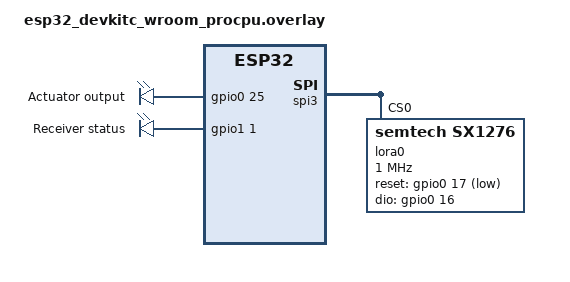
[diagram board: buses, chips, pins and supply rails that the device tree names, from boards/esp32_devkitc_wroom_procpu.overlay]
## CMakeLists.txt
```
# Copyright (c) 2026 Vinicius Pedrosa
# SPDX-License-Identifier: MIT OR Apache-2.0

cmake_minimum_required(VERSION 3.20.0)

set(GATE_LINK_ROOT ${CMAKE_CURRENT_LIST_DIR}/../..)

find_package(Zephyr REQUIRED HINTS $ENV{ZEPHYR_BASE})
project(gate_link_receiver)

add_subdirectory(${GATE_LINK_ROOT}/common common)

target_sources(app PRIVATE src/main.c)
```

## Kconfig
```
# Copyright (c) 2026 Vinicius Pedrosa
# SPDX-License-Identifier: MIT OR Apache-2.0

mainmenu "Gate Link receiver"

menu "Gate Link receiver"

module = GATE_RX
module-str = gate_rx
source "subsys/logging/Kconfig.template.log_config"

config GATE_RX_ACCEPTED_DEVICE_ID
	int "Accepted transmitter device id"
	default 1
	range 1 2147483647
	help
	  Device id of the transmitter this receiver answers. Commands carrying
	  any other device id are ignored without an ACK. Duplicate detection
	  tracks the last accepted sequence for this identity.

	  This is addressing, not authentication: a device id is trivial to
	  spoof and only phase 8 makes a command unforgeable.

config GATE_RX_RECEIVE_TIMEOUT_MS
	int "Bench receive timeout in milliseconds"
	default 10000
	range 1000 60000
	help
	  Timeout used while waiting for bench LoRa packets.

config GATE_RX_ACTUATOR_PULSE_MS
	int "Actuator output pulse in milliseconds"
	default 300
	range 1 10000
	help
	  Time the actuator output stays active for one accepted trigger command.

	  The pulse runs before the ACK is sent, so it is part of the time the
	  transmitter spends waiting. Keep it well below the transmitter's
	  CONFIG_GATE_TX_ACK_TIMEOUT_MS, or every command times out and reports
	  failure at the transmitter even though the actuator did fire.

endmenu

rsource "../../common/Kconfig"

source "Kconfig.zephyr"
```

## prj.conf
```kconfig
# Copyright (c) 2026 Vinicius Pedrosa
# SPDX-License-Identifier: MIT OR Apache-2.0

CONFIG_LOG=y
CONFIG_GATE_RX_LOG_LEVEL_INF=y
CONFIG_MAIN_STACK_SIZE=2048

# Actuator output and status LED come from devicetree aliases (D005).
CONFIG_GPIO=y

# RFM95W/SX1276 LoRa radio comes from the board overlay lora0 alias.
CONFIG_SPI=y
CONFIG_LORA=y
CONFIG_LORA_LOG_LEVEL_INF=y
CONFIG_GATE_RADIO_LOG_LEVEL_INF=y
```

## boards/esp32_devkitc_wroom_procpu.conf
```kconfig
# Copyright (c) 2026 Vinicius Pedrosa
# SPDX-License-Identifier: MIT OR Apache-2.0

# ESP32 bench hardware has a storage partition used for the accepted sequence
# counter. The shared authentication key still comes from a local unversioned
# EXTRA_CONF_FILE.
CONFIG_FLASH=y
CONFIG_FLASH_MAP=y
CONFIG_FLASH_PAGE_LAYOUT=y
CONFIG_NVS=y
CONFIG_GATE_COUNTER_STORE_NVS=y
```

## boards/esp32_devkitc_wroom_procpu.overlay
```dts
/*
 * Copyright (c) 2026 Vinicius Pedrosa
 *
 * SPDX-License-Identifier: MIT OR Apache-2.0
 *
 * Receiver wiring for ESP32 DevKitC V4 (WROOM-32D) with a HopeRF RFM95W.
 *
 *   RFM95W          ESP32      note
 *   ------          -----      ----
 *   SCK             GPIO18     spi3 / VSPI, board default pinctrl
 *   MISO            GPIO19     spi3 / VSPI, board default pinctrl
 *   MOSI            GPIO23     spi3 / VSPI, board default pinctrl
 *   NSS  (CS)       GPIO5      spi3 hardware chip select, board default pinctrl
 *   RESET           GPIO17     active low on SX1276
 *   DIO0            GPIO16     TxDone / RxDone interrupt
 *   3V3, GND        3V3, GND   3.3 V only - 5 V destroys the module
 *
 *   actuator out    GPIO25     LED on the bench, isolated driver once installed
 *   status LED      GPIO33     series resistor to GND
 *
 * GPIO25 is deliberately not a strapping pin: it stays low through reset, so
 * the actuator cannot glitch active at boot once it drives a real contact.
 */

#include <zephyr/dt-bindings/gpio/gpio.h>

/ {
	aliases {
		gate-actuator = &gate_actuator;
		gate-status = &gate_status;
		lora0 = &lora0;
	};

	gate_outputs {
		compatible = "gpio-leds";

		/*
		 * The actuator is an LED on the bench and an isolated contact
		 * driver once installed (D003). Only this node changes.
		 */
		gate_actuator: gate_actuator {
			gpios = <&gpio0 25 GPIO_ACTIVE_HIGH>;
			label = "Actuator output";
		};

		gate_status: gate_status {
			/* ESP32 GPIO33 is controller gpio1 offset 1. */
			gpios = <&gpio1 1 GPIO_ACTIVE_HIGH>;
			label = "Receiver status";
		};
	};
};

&spi3 {
	status = "okay";
	/*
	 * No cs-gpios here on purpose. The board's spim3_default pinctrl already
	 * routes the SPI3 hardware chip select to GPIO5 (SPIM3_CSEL_GPIO5), and
	 * spi_esp32_spim.c only keeps NSS asserted across a multi-buffer
	 * transfer when no cs-gpios is declared:
	 *
	 *   hal_trans->cs_keep_active = (!ctx->num_cs_gpios && (...));
	 *
	 * Declaring cs-gpios made that false, so the controller raised NSS after
	 * every single byte. The SX1276 needs NSS low across the whole
	 * address+data pair, so it saw only orphan address bytes and answered
	 * 0x00 to everything, including REG_VERSION.
	 */

	lora0: lora@0 {
		compatible = "semtech,sx1276";
		reg = <0>;
		reset-gpios = <&gpio0 17 GPIO_ACTIVE_LOW>;
		/*
		 * Only DIO0 is required for TX/RX completion. Wire and list
		 * DIO1/DIO2 here as well if a later phase needs them.
		 */
		dio-gpios = <&gpio0 16 (GPIO_PULL_DOWN | GPIO_ACTIVE_HIGH)>;
		/* Conservative for breadboard wiring; raise once validated. */
		spi-max-frequency = <1000000>;
		/* The RFM95W only routes the PA_BOOST output. */
		power-amplifier-output = "pa-boost";
	};
};
```

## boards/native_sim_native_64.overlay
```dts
/*
 * Copyright (c) 2026 Vinicius Pedrosa
 *
 * SPDX-License-Identifier: MIT OR Apache-2.0
 *
 * Host build of the receiver. The actuator output is backed by the GPIO
 * emulator, so receiver logic can be exercised against the same devicetree
 * alias it uses on real hardware (D005).
 *
 * Pin 0 of gpio0 is already taken by the board's own led0 node.
 */

#include <zephyr/dt-bindings/gpio/gpio.h>

/ {
	aliases {
		gate-actuator = &gate_actuator;
		gate-status = &gate_status;
	};

	gate_outputs {
		compatible = "gpio-leds";

		/*
		 * The actuator is an LED on the bench and an isolated contact
		 * driver once installed (D003). Only this node changes.
		 */
		gate_actuator: gate_actuator {
			gpios = <&gpio0 1 GPIO_ACTIVE_HIGH>;
			label = "Actuator output";
		};

		gate_status: gate_status {
			gpios = <&gpio0 2 GPIO_ACTIVE_HIGH>;
			label = "Receiver status";
		};
	};
};
```

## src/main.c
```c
/*
 * Copyright (c) 2026 Vinicius Pedrosa
 *
 * SPDX-License-Identifier: MIT OR Apache-2.0
 */

#include <errno.h>
#include <stdbool.h>

#include <zephyr/devicetree.h>
#include <zephyr/drivers/gpio.h>
#include <zephyr/kernel.h>
#include <zephyr/logging/log.h>

#include <auth/gate_auth.h>
#include <protocol/gate_protocol.h>
#include <radio/gate_radio.h>
#include <sequence/gate_replay_filter.h>
#if IS_ENABLED(CONFIG_GATE_COUNTER_STORE_NVS)
#include <storage/gate_counter_store.h>
#endif

LOG_MODULE_REGISTER(gate_rx, CONFIG_GATE_RX_LOG_LEVEL);

/*
 * Board overlays bind these aliases to GPIO handles. Asserting them now keeps
 * a missing or misnamed overlay a build error instead of a bench surprise.
 */
BUILD_ASSERT(DT_NODE_EXISTS(DT_ALIAS(gate_actuator)),
	     "board overlay must define the gate-actuator alias");
BUILD_ASSERT(DT_NODE_EXISTS(DT_ALIAS(gate_status)),
	     "board overlay must define the gate-status alias");

/*
 * Authentication and replay resistance are configuration, and a missing
 * configuration is a build error for the same reason a missing alias is: no
 * retry produces a key or a storage partition that the build never bound
 * (D014). Catching it here keeps an unprovisioned image from being flashed and
 * then failing silently in the field.
 *
 * Only builds that can actually reach the radio are held to this. A build with
 * no lora0 alias idles on purpose and needs neither a key nor counters (D012).
 * Only the key length is checkable at build time; gate_auth_key_from_hex()
 * still validates the characters at startup.
 */
#if GATE_RADIO_PRESENT
BUILD_ASSERT(sizeof(CONFIG_GATE_AUTH_KEY_HEX) == GATE_AUTH_KEY_HEX_SIZE + 1u,
	     "CONFIG_GATE_AUTH_KEY_HEX must be exactly 64 hex characters; provision it through "
	     "a local unversioned EXTRA_CONF_FILE, never in the repository");
BUILD_ASSERT(IS_ENABLED(CONFIG_GATE_COUNTER_STORE_NVS),
	     "authenticated builds require CONFIG_GATE_COUNTER_STORE_NVS: without persisted "
	     "counters an accepted sequence would be forgotten on reset (D018)");
#endif

static const struct gpio_dt_spec actuator = GPIO_DT_SPEC_GET(DT_ALIAS(gate_actuator), gpios);
static const struct gpio_dt_spec status_led = GPIO_DT_SPEC_GET(DT_ALIAS(gate_status), gpios);

static uint8_t auth_key[GATE_AUTH_KEY_SIZE];

#if IS_ENABLED(CONFIG_GATE_COUNTER_STORE_NVS)
static struct gate_counter_store replay_store;
#endif

/* Pacing for actuator_force_safe(), which must never become a busy loop. */
#define ACTUATOR_SAFE_RETRY_MS 100

static void set_status_led(bool enabled)
{
	int ret = gpio_pin_set_dt(&status_led, enabled ? 1 : 0);

	if (ret < 0) {
		LOG_ERR("RX status LED set failed: %d", ret);
	}
}

static int rx_io_init(void)
{
	int ret;

	if (!gpio_is_ready_dt(&actuator)) {
		LOG_ERR("RX actuator GPIO is not ready");
		return -ENODEV;
	}

	if (!gpio_is_ready_dt(&status_led)) {
		LOG_ERR("RX status LED GPIO is not ready");
		return -ENODEV;
	}

	ret = gpio_pin_configure_dt(&actuator, GPIO_OUTPUT_INACTIVE);
	if (ret < 0) {
		LOG_ERR("RX actuator configure failed: %d", ret);
		return ret;
	}

	ret = gpio_pin_configure_dt(&status_led, GPIO_OUTPUT_INACTIVE);
	if (ret < 0) {
		LOG_ERR("RX status LED configure failed: %d", ret);
		return ret;
	}

	return 0;
}

/*
 * Drive the actuator back to its safe state, retrying until it gets there.
 *
 * Failing to energize the output only costs one missed command: no ACK is sent
 * and the transmitter retries. Failing to de-energize it is the worst failure
 * this firmware has, because the output stays active with nothing left to
 * lower it, and on the installed hardware that is a gate held open (D003).
 * There is nothing more useful a receiver can do in that state than keep
 * trying, so this mirrors radio_wait_ready(): retry forever, paced (D012).
 */
static void actuator_force_safe(void)
{
	for (;;) {
		int ret = gpio_pin_set_dt(&actuator, 0);

		if (ret == 0) {
			return;
		}

		LOG_ERR("RX actuator stuck active (%d), retrying in %u ms", ret,
			ACTUATOR_SAFE_RETRY_MS);
		k_sleep(K_MSEC(ACTUATOR_SAFE_RETRY_MS));
	}
}

static int actuator_trigger(void)
{
	int ret;

	ret = gpio_pin_set_dt(&actuator, 1);
	if (ret < 0) {
		LOG_ERR("RX actuator ON failed: %d", ret);
		return ret;
	}

	k_sleep(K_MSEC(CONFIG_GATE_RX_ACTUATOR_PULSE_MS));

	actuator_force_safe();

	return 0;
}

static int auth_init(void)
{
	enum gate_auth_status status;

	status = gate_auth_key_from_hex(CONFIG_GATE_AUTH_KEY_HEX, auth_key, sizeof(auth_key));
	if (status != GATE_AUTH_OK) {
		LOG_ERR("RX authentication key invalid: %s", gate_auth_status_name(status));
		LOG_ERR("RX requires CONFIG_GATE_AUTH_KEY_HEX with 64 hex characters");
		return -EINVAL;
	}

	LOG_INF("RX authentication enabled tag=%u bytes", GATE_PROTOCOL_AUTH_TAG_SIZE);

	return 0;
}

static int replay_store_init(struct gate_replay_tracker *tracker)
{
#if IS_ENABLED(CONFIG_GATE_COUNTER_STORE_NVS)
	uint32_t last_sequence;
	bool found;
	int ret;

	ret = gate_counter_store_init(&replay_store);
	if (ret < 0) {
		LOG_ERR("RX replay store init failed: %d", ret);
		if (ret == -EDEADLK) {
			LOG_ERR("RX replay store is not a valid NVS area; erase storage during "
				"provisioning");
		}
		return ret;
	}

	ret = gate_counter_store_read(&replay_store, GATE_COUNTER_STORE_RX_LAST_SEQUENCE_ID,
				      &last_sequence, &found);
	if (ret < 0) {
		LOG_ERR("RX replay store read failed: %d", ret);
		return ret;
	}

	if (!found || last_sequence == GATE_SEQUENCE_NONE) {
		LOG_INF("RX replay store is empty");
		return 0;
	}

	gate_replay_tracker_set_last_sequence(tracker, last_sequence);
	LOG_INF("RX replay store loaded last=%u device=%u", last_sequence, tracker->device_id);

	return 0;
#else
	ARG_UNUSED(tracker);
	LOG_ERR("RX replay-resistant sequence storage is not enabled");
	return -ENOTSUP;
#endif
}

static int persist_accepted_sequence(uint32_t sequence)
{
#if IS_ENABLED(CONFIG_GATE_COUNTER_STORE_NVS)
	return gate_counter_store_write(&replay_store, GATE_COUNTER_STORE_RX_LAST_SEQUENCE_ID,
					sequence);
#else
	ARG_UNUSED(sequence);
	return -ENOTSUP;
#endif
}

/*
 * Once the actuator pulse completed, the command has happened. The receiver
 * must not ACK that command until the accepted sequence is persistent; otherwise
 * a reboot could make the same signed packet executable again. Retrying here
 * blocks normal receive handling on purpose: no new command is safer than a
 * replayable accepted command.
 */
static void persist_accepted_sequence_or_wait(uint32_t sequence)
{
	for (;;) {
		int ret = persist_accepted_sequence(sequence);

		if (ret == 0) {
			return;
		}

		LOG_ERR("RX replay store write failed seq=%u ret=%d; ACK withheld", sequence, ret);
		set_status_led(false);
		k_sleep(K_MSEC(CONFIG_GATE_RADIO_RECOVERY_INTERVAL_MS));
	}
}

static int send_ack(const struct gate_packet *command)
{
	struct gate_packet ack;
	uint8_t buffer[GATE_PROTOCOL_PACKET_SIZE];
	size_t written;
	enum gate_protocol_status status;
	enum gate_auth_status auth_status;
	int send_ret;
	int rx_ret;

	gate_protocol_init_ack(&ack, command->device_id, command->sequence, command->command);

	auth_status = gate_auth_sign(&ack, auth_key, sizeof(auth_key));
	if (auth_status != GATE_AUTH_OK) {
		LOG_ERR("RX ACK auth sign failed seq=%u status=%s", command->sequence,
			gate_auth_status_name(auth_status));
		return -EINVAL;
	}

	status = gate_protocol_encode(&ack, buffer, sizeof(buffer), &written);
	if (status != GATE_PROTOCOL_OK) {
		LOG_ERR("RX ACK encode failed seq=%u status=%s", command->sequence,
			gate_protocol_status_name(status));
		return -EINVAL;
	}

	send_ret = gate_radio_configure_tx();
	if (send_ret < 0) {
		LOG_ERR("RX radio TX config failed: %d", send_ret);
		return send_ret;
	}

	LOG_INF("RX sending ACK seq=%u device=%u bytes=%u", ack.sequence, ack.device_id,
		(unsigned int)written);

	send_ret = gate_radio_send(buffer, written);
	if (send_ret < 0) {
		LOG_ERR("RX ACK send failed seq=%u ret=%d", ack.sequence, send_ret);
	} else {
		LOG_INF("RX ACK sent seq=%u", ack.sequence);
	}

	rx_ret = gate_radio_configure_rx();
	if (rx_ret < 0) {
		LOG_ERR("RX radio RX config failed after ACK: %d", rx_ret);
		return rx_ret;
	}

	return send_ret;
}

/*
 * Block until the radio answers and is listening again.
 *
 * There is nothing useful a receiver can do without a radio, so this retries
 * indefinitely instead of parking the board in a dead idle loop: a module that
 * was unpowered, unwired, or wedged heals without a power cycle. The receiver
 * must always end up back in RX mode, so probing alone is not enough.
 */
static void radio_wait_ready(void)
{
	for (;;) {
		if (gate_radio_init() == 0 && gate_radio_configure_rx() == 0) {
			return;
		}

		LOG_ERR("RX radio unavailable, retrying in %u ms",
			CONFIG_GATE_RADIO_RECOVERY_INTERVAL_MS);
		k_sleep(K_MSEC(CONFIG_GATE_RADIO_RECOVERY_INTERVAL_MS));
	}
}

/*
 * Count one radio error and recover once the threshold is reached. Only genuine
 * radio errors may reach this function; a receive timeout means the radio
 * listened and heard nothing, which is normal.
 */
static void note_radio_failure(uint32_t *failures)
{
	if (++(*failures) < (uint32_t)CONFIG_GATE_RADIO_RECOVERY_THRESHOLD) {
		return;
	}

	LOG_WRN("RX recovering radio after %u consecutive failures", *failures);
	*failures = 0u;

	radio_wait_ready();

	LOG_INF("RX radio recovered after runtime failure");
}

/*
 * Refresh the radio after each receive timeout.
 *
 * With the RFM95W powered off at runtime, lora_recv() can keep returning
 * -EAGAIN rather than a hard bus error. A timeout is still normal when the link
 * is idle, so the success path is intentionally quiet; the important behavior
 * is to notice a missing chip and to re-apply RX mode after power returns.
 */
static void refresh_radio_after_timeout(void)
{
	int ret = gate_radio_refresh_rx();

	if (ret == 0) {
		return;
	}

	LOG_WRN("RX radio refresh failed after timeout: %d", ret);
	radio_wait_ready();
	LOG_INF("RX radio recovered after idle timeout");
}

int main(void)
{
	struct gate_replay_tracker replay_trackers[1];
	uint32_t radio_failures = 0u;
	int ret;

	LOG_INF("RX boot");
	LOG_INF("RX protocol version=%u packet=%u bytes command=%s", gate_protocol_version(),
		GATE_PROTOCOL_PACKET_SIZE, gate_command_name(GATE_COMMAND_TRIGGER));
	gate_replay_tracker_init(&replay_trackers[0], CONFIG_GATE_RX_ACCEPTED_DEVICE_ID);

	/*
	 * Unlike a radio failure, this is not retried: an unbindable pin means
	 * the overlay does not match this board, and no retry creates it (D014).
	 */
	ret = rx_io_init();
	if (ret < 0) {
		LOG_ERR("RX I/O init failed: %d", ret);
		return 0;
	}

	if (!gate_radio_is_present()) {
		LOG_WRN("RX has no LoRa radio in this build, idling");
		k_sleep(K_FOREVER);
		return 0;
	}

	ret = auth_init();
	if (ret < 0) {
		return 0;
	}

	ret = replay_store_init(&replay_trackers[0]);
	if (ret < 0) {
		return 0;
	}

	radio_wait_ready();

	for (;;) {
		/* One byte above the packet size, so an oversized frame is
		 * reported instead of silently truncated (see gate_radio.h).
		 */
		uint8_t buffer[GATE_PROTOCOL_PACKET_SIZE + 1u];
		struct gate_radio_rx_result rx;
		struct gate_packet packet;
		enum gate_protocol_status status;
		enum gate_auth_status auth_status;

		ret = gate_radio_receive(buffer, sizeof(buffer),
					 K_MSEC(CONFIG_GATE_RX_RECEIVE_TIMEOUT_MS), &rx);

		/*
		 * A timeout and an oversized frame both prove the radio is
		 * working, so only unexpected errors count toward recovery.
		 */
		if (ret < 0 && ret != -EAGAIN && ret != -EMSGSIZE) {
			LOG_ERR("RX receive failed: %d", ret);
			note_radio_failure(&radio_failures);
			continue;
		}

		radio_failures = 0u;

		if (ret == -EAGAIN) {
			LOG_INF("RX waiting for packets");
			refresh_radio_after_timeout();
			continue;
		}

		if (ret == -EMSGSIZE) {
			LOG_WRN("RX dropped oversized frame");
			continue;
		}

		status = gate_protocol_decode(buffer, rx.length, &packet);
		if (status != GATE_PROTOCOL_OK) {
			LOG_WRN("RX invalid packet len=%u rssi=%d snr=%d status=%s",
				(unsigned int)rx.length, rx.rssi, rx.snr,
				gate_protocol_status_name(status));
			continue;
		}

		auth_status = gate_auth_verify(&packet, auth_key, sizeof(auth_key));
		if (auth_status != GATE_AUTH_OK) {
			LOG_WRN("RX authentication failed type=%s command=%s seq=%u device=%u "
				"rssi=%d snr=%d status=%s",
				gate_message_type_name(packet.type),
				gate_command_name(packet.command), packet.sequence,
				packet.device_id, rx.rssi, rx.snr,
				gate_auth_status_name(auth_status));
			continue;
		}

		LOG_INF("RX packet type=%s command=%s seq=%u device=%u rssi=%d snr=%d",
			gate_message_type_name(packet.type), gate_command_name(packet.command),
			packet.sequence, packet.device_id, rx.rssi, rx.snr);

		/*
		 * The status LED means "this packet was accepted and is being
		 * answered", so it is lit only on the paths that reach
		 * send_ack() and stays off for packets that are dropped.
		 */
		switch (gate_replay_filter_command(replay_trackers, ARRAY_SIZE(replay_trackers),
						   &packet)) {
		case GATE_REPLAY_DECISION_EXECUTE:
			set_status_led(true);
			LOG_INF("RX actuator trigger seq=%u device=%u", packet.sequence,
				packet.device_id);
			ret = actuator_trigger();
			if (ret < 0) {
				LOG_ERR("RX actuator failed seq=%u ret=%d", packet.sequence, ret);
				set_status_led(false);
				continue;
			}
			/*
			 * Recording only happens once the pulse completed, so a
			 * failed attempt stays retriable. This guard cannot fire
			 * today, since the replay filter already proved the
			 * packet is a valid COMMAND from a tracked identity, but
			 * an unrecorded sequence would re-trigger the actuator on
			 * every retransmission, so it refuses to ACK instead.
			 */
			if (!gate_replay_accept_command(replay_trackers,
							ARRAY_SIZE(replay_trackers), &packet)) {
				LOG_ERR("RX sequence accept failed seq=%u device=%u",
					packet.sequence, packet.device_id);
				set_status_led(false);
				continue;
			}
			persist_accepted_sequence_or_wait(packet.sequence);
			break;
		case GATE_REPLAY_DECISION_DUPLICATE:
			set_status_led(true);
			LOG_WRN("RX duplicate seq=%u device=%u, actuator suppressed",
				packet.sequence, packet.device_id);
			break;
		case GATE_REPLAY_DECISION_REPLAY:
			LOG_WRN("RX rejected replay seq=%u device=%u last=%u", packet.sequence,
				packet.device_id, replay_trackers[0].last_sequence);
			continue;
		case GATE_REPLAY_DECISION_IGNORE:
			LOG_WRN(
			    "RX ignored command from device=%u seq=%u, accepting only device=%u",
			    packet.device_id, packet.sequence,
			    (unsigned int)CONFIG_GATE_RX_ACCEPTED_DEVICE_ID);
			continue;
		case GATE_REPLAY_DECISION_INVALID:
		default:
			LOG_WRN("RX ignored non-command packet type=%s seq=%u device=%u",
				gate_message_type_name(packet.type), packet.sequence,
				packet.device_id);
			continue;
		}

		/* A failed ACK is a local radio problem, not a link problem. */
		ret = send_ack(&packet);
		set_status_led(false);
		if (ret < 0) {
			LOG_ERR("RX failed to acknowledge seq=%u ret=%d", packet.sequence, ret);
			note_radio_failure(&radio_failures);
		}
	}

	return 0;
}
```
